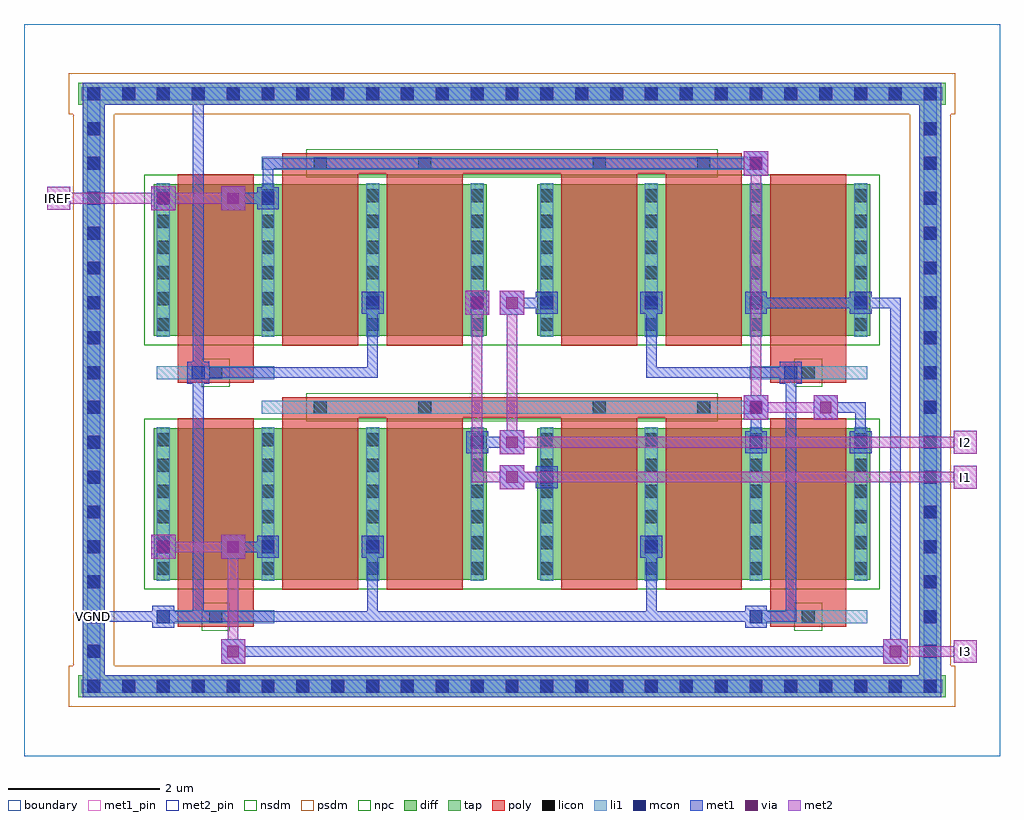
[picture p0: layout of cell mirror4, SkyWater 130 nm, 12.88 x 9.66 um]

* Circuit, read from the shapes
.subckt mirror4 I1 I2 I3 IREF VGND
XM1 I3 VGND I3 VGND sky130_fd_pr__nfet_01v8 w=2 l=1 m=2
XM2 IREF VGND IREF VGND sky130_fd_pr__nfet_01v8 w=2 l=1 m=2
XM3 VGND IREF I3 VGND sky130_fd_pr__nfet_01v8 w=2 l=1 m=2
XM4 VGND IREF IREF VGND sky130_fd_pr__nfet_01v8 w=2 l=1 m=2
XM5 I2 IREF VGND VGND sky130_fd_pr__nfet_01v8 w=2 l=1 m=2
XM6 I1 IREF VGND VGND sky130_fd_pr__nfet_01v8 w=2 l=1 m=2
.ends

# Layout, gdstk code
import gdstk
lib = gdstk.Library(unit=1e-6, precision=1e-09)
def R(c, l, rs):  # rectangles x0, y0, x1, y1
    for r in rs: c.add(gdstk.rectangle(r[:2], r[2:], *l))
def A(c, l, x, y, w, h, nx, ny, dx, dy):  # array of equal rectangles
    R(c, l, [(x+i*dx, y+j*dy, x+i*dx+w, y+j*dy+h) for i in range(nx) for j in range(ny)])
diff = (65, 20)
tap = (65, 44)
poly = (66, 20)
licon = (66, 44)
li1 = (67, 20)
mcon = (67, 44)
met1_pin = (68, 16)
met1 = (68, 20)
via = (68, 44)
met2_pin = (69, 16)
met2 = (69, 20)
nsdm = (93, 44)
psdm = (94, 20)
npc = (95, 20)
boundary = (235, 4)

mirror4 = lib.new_cell('mirror4')
R(mirror4, diff, [(1.715,2.325,6.105,4.325), (6.775,2.325,11.165,4.325), (1.715,5.545,6.105,7.545), (6.775,5.545,11.165,7.545)])
R(mirror4, tap, [(0.715,0.775,12.165,1.065), (0.775,0.775,1.065,8.885), (11.815,0.775,12.105,8.885), (0.715,8.595,12.165,8.885)])
R(mirror4, poly, [(2.03,1.705,3.03,1.975), (9.85,1.705,10.85,1.975), (2.03,1.84,3.03,4.455), (9.85,1.84,10.85,4.455), (3.41,2.195,4.41,4.6), (4.79,2.195,5.79,4.6), (7.09,2.195,8.09,4.6), (8.47,2.195,9.47,4.6), (3.41,4.465,9.47,4.735), (2.03,4.925,3.03,5.195), (9.85,4.925,10.85,5.195), (2.03,5.06,3.03,7.675), (9.85,5.06,10.85,7.675), (3.41,5.415,4.41,7.82), (4.79,5.415,5.79,7.82), (7.09,5.415,8.09,7.82), (8.47,5.415,9.47,7.82), (3.41,7.685,9.47,7.955)])
A(mirror4, licon, 0.835, 0.835, 0.17, 0.17, 25, 2, 0.46, 7.82)
A(mirror4, licon, 0.835, 1.295, 0.17, 0.17, 1, 16, 0, 0.46)
A(mirror4, licon, 11.875, 1.295, 0.17, 0.17, 1, 16, 0, 0.46)
A(mirror4, licon, 1.755, 2.39, 0.17, 0.17, 4, 6, 1.38, 0.34)
A(mirror4, licon, 6.815, 2.39, 0.17, 0.17, 4, 6, 1.38, 0.34)
A(mirror4, licon, 1.755, 5.61, 0.17, 0.17, 4, 6, 1.38, 0.34)
A(mirror4, licon, 6.815, 5.61, 0.17, 0.17, 4, 6, 1.38, 0.34)
R(mirror4, licon, [(2.445,1.755,2.615,1.925), (10.265,1.755,10.435,1.925), (3.825,4.515,3.995,4.685), (5.205,4.515,5.375,4.685), (7.505,4.515,7.675,4.685), (8.885,4.515,9.055,4.685), (2.445,4.975,2.615,5.145), (10.265,4.975,10.435,5.145), (3.825,7.735,3.995,7.905), (5.205,7.735,5.375,7.905), (7.505,7.735,7.675,7.905), (8.885,7.735,9.055,7.905)])
A(mirror4, li1, 1.755, 2.31, 0.17, 2.03, 4, 2, 1.38, 3.22)
A(mirror4, li1, 6.815, 2.31, 0.17, 2.03, 4, 2, 1.38, 3.22)
R(mirror4, li1, [(0.755,0.835,12.125,1.005), (0.835,0.835,1.005,8.825), (11.875,0.835,12.045,8.825), (1.755,1.755,3.305,1.925), (9.575,1.755,11.125,1.925), (3.135,4.515,9.745,4.685), (1.755,4.975,3.305,5.145), (9.575,4.975,11.125,5.145), (3.135,7.735,9.745,7.905), (0.755,8.655,12.125,8.825)])
A(mirror4, mcon, 0.835, 0.835, 0.17, 0.17, 25, 2, 0.46, 7.82)
A(mirror4, mcon, 0.835, 1.295, 0.17, 0.17, 1, 16, 0, 0.46)
A(mirror4, mcon, 11.875, 1.295, 0.17, 0.17, 1, 16, 0, 0.46)
A(mirror4, mcon, 1.755, 2.675, 0.17, 0.17, 3, 1, 1.38, 0)
A(mirror4, mcon, 6.815, 5.895, 0.17, 0.17, 4, 1, 1.38, 0)
R(mirror4, mcon, [(1.755,1.755,1.925,1.925), (9.575,1.755,9.745,1.925), (8.195,2.675,8.365,2.845), (6.815,3.595,6.985,3.765), (5.895,4.055,6.065,4.225), (9.575,4.055,9.745,4.225), (10.955,4.055,11.125,4.225), (9.575,4.515,9.745,4.685), (2.215,4.975,2.385,5.145), (10.035,4.975,10.205,5.145), (4.515,5.895,4.685,6.065), (5.895,5.895,6.065,6.065), (1.755,7.275,1.925,7.445), (3.135,7.275,3.305,7.445), (9.575,7.735,9.745,7.905)])
R(mirror4, met1_pin, [(0.85,1.77,0.99,1.91)])
A(mirror4, met1, 1.695, 2.615, 0.29, 0.29, 3, 1, 1.38, 0)
A(mirror4, met1, 6.755, 5.835, 0.29, 0.29, 4, 1, 1.38, 0)
R(mirror4, met1, [(0.775,0.775,12.105,1.065), (0.775,0.775,1.065,8.885), (11.815,0.775,12.105,8.885), (2.6,1.22,2.92,1.54), (11.34,1.22,11.66,1.54), (2.69,1.31,11.57,1.45), (11.43,1.31,11.57,6.05), (1.695,1.695,1.985,1.985), (9.515,1.695,9.805,1.985), (0.85,1.77,0.99,1.91), (0.85,1.77,1.91,1.91), (1.77,1.77,4.67,1.91), (2.23,1.77,2.37,5.13), (4.53,1.77,4.67,2.83), (4.53,1.77,8.35,1.91), (8.21,1.77,8.35,2.83), (8.21,1.77,9.73,1.91), (9.59,1.77,10.19,1.91), (10.05,1.77,10.19,5.13), (1.68,2.6,2,2.92), (2.6,2.6,2.92,2.92), (8.135,2.615,8.425,2.905), (2.69,2.69,3.29,2.83), (6.28,3.52,6.6,3.84), (6.755,3.535,7.045,3.825), (6.37,3.61,6.97,3.75), (6.28,3.98,6.6,4.3), (5.835,3.995,6.125,4.285), (9.515,3.995,9.805,4.285), (10.895,3.995,11.185,4.285), (5.91,4.07,6.51,4.21), (9.59,4.07,9.73,4.67), (10.97,4.07,11.11,4.67), (9.5,4.44,9.82,4.76), (10.42,4.44,10.74,4.76), (9.515,4.455,9.805,4.745), (10.51,4.53,11.11,4.67), (2.155,4.915,2.445,5.205), (9.975,4.915,10.265,5.205), (2.23,4.99,4.67,5.13), (2.23,4.99,2.37,8.81), (4.53,4.99,4.67,6.05), (8.21,4.99,8.35,6.05), (8.21,4.99,10.19,5.13), (5.82,5.82,6.14,6.14), (6.28,5.82,6.6,6.14), (4.455,5.835,4.745,6.125), (5.835,5.835,6.125,6.125), (6.37,5.91,6.97,6.05), (9.59,5.91,11.11,6.05), (10.97,5.91,11.57,6.05), (1.68,7.2,2,7.52), (2.6,7.2,2.92,7.52), (1.695,7.215,1.985,7.505), (3.075,7.215,3.365,7.505), (2.69,7.29,3.29,7.43), (3.15,7.29,3.29,7.89), (9.5,7.66,9.82,7.98), (9.515,7.675,9.805,7.965), (3.15,7.75,9.73,7.89), (0.775,8.595,12.105,8.885), (2.23,8.67,2.37,8.81)])
R(mirror4, via, [(2.685,1.305,2.835,1.455), (11.425,1.305,11.575,1.455), (1.765,2.685,1.915,2.835), (2.685,2.685,2.835,2.835), (6.365,3.605,6.515,3.755), (6.365,4.065,6.515,4.215), (9.585,4.525,9.735,4.675), (10.505,4.525,10.655,4.675), (5.905,5.905,6.055,6.055), (6.365,5.905,6.515,6.055), (1.765,7.285,1.915,7.435), (2.685,7.285,2.835,7.435), (9.585,7.745,9.735,7.895)])
R(mirror4, met2_pin, [(12.27,1.23,12.57,1.53), (12.27,3.53,12.57,3.83), (12.27,3.99,12.57,4.29), (0.31,7.21,0.61,7.51)])
R(mirror4, met2, [(2.6,1.22,2.92,1.54), (11.34,1.22,11.66,1.54), (12.27,1.23,12.57,1.53), (2.69,1.31,2.83,2.83), (11.43,1.31,12.49,1.45), (12.35,1.31,12.49,1.45), (1.68,2.6,2,2.92), (2.6,2.6,2.92,2.92), (1.77,2.69,2.83,2.83), (6.28,3.52,6.6,3.84), (12.27,3.53,12.57,3.83), (5.91,3.61,6.51,3.75), (5.91,3.61,6.05,6.05), (6.37,3.61,12.49,3.75), (12.35,3.61,12.49,3.75), (6.28,3.98,6.6,4.3), (12.27,3.99,12.57,4.29), (6.37,4.07,6.51,6.05), (6.37,4.07,12.49,4.21), (12.35,4.07,12.49,4.21), (9.5,4.44,9.82,4.76), (10.42,4.44,10.74,4.76), (9.59,4.53,10.65,4.67), (9.59,4.53,9.73,7.89), (5.82,5.82,6.14,6.14), (6.28,5.82,6.6,6.14), (1.68,7.2,2,7.52), (2.6,7.2,2.92,7.52), (0.31,7.21,0.61,7.51), (0.39,7.29,0.53,7.43), (0.39,7.29,1.91,7.43), (1.77,7.29,2.83,7.43), (9.5,7.66,9.82,7.98)])
R(mirror4, nsdm, [(1.59,2.2,11.29,4.45), (1.59,5.42,11.29,7.67)])
R(mirror4, psdm, [(0.59,0.65,12.29,1.19), (0.65,1.19,1.19,8.47), (11.69,1.19,12.23,8.47), (0.59,8.47,12.29,9.01)])
R(mirror4, npc, [(2.345,1.655,2.715,2.025), (10.165,1.655,10.535,2.025), (3.725,4.415,9.155,4.785), (2.345,4.875,2.715,5.245), (10.165,4.875,10.535,5.245), (3.725,7.635,9.155,8.005)])
R(mirror4, boundary, [(0,0,12.88,9.66)])
mirror4.add(gdstk.Label('VGND', (0.92,1.84), layer=68, texttype=5))
mirror4.add(gdstk.Label('IREF', (0.46,7.36), layer=69, texttype=5))
mirror4.add(gdstk.Label('I1', (12.42,3.68), layer=69, texttype=5))
mirror4.add(gdstk.Label('I2', (12.42,4.14), layer=69, texttype=5))
mirror4.add(gdstk.Label('I3', (12.42,1.38), layer=69, texttype=5))
mirror4.add(gdstk.Label('VGND', (0.92,1.84), layer=68, texttype=16))
mirror4.add(gdstk.Label('IREF', (0.46,7.36), layer=69, texttype=16))
mirror4.add(gdstk.Label('I1', (12.42,3.68), layer=69, texttype=16))
mirror4.add(gdstk.Label('I2', (12.42,4.14), layer=69, texttype=16))
mirror4.add(gdstk.Label('I3', (12.42,1.38), layer=69, texttype=16))

lib.write_gds('mirror4.gds')
